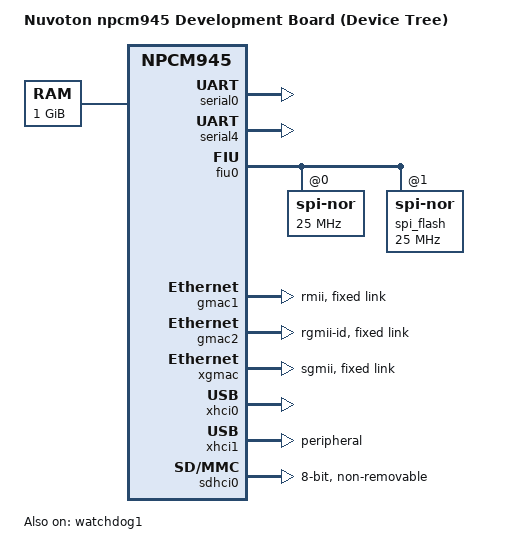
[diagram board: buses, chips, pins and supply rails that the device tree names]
// SPDX-License-Identifier: GPL-2.0
// Copyright (c) 2021 Nuvoton Technology tomer.maimon@nuvoton.com

/dts-v1/;

#include <dt-bindings/phy/nuvoton,npcm-usbphy.h>
#include "nuvoton-npcm945.dtsi"
#include "nuvoton-npcm945-pincfg.dtsi"

/ {
	model = "Nuvoton npcm945 Development Board (Device Tree)";
	compatible = "nuvoton,npcm945-evb", "nuvoton,npcm945";

	aliases {
		serial0 = &serial0;
		serial4 = &serial4;
		ethernet1 = &gmac1;
		ethernet2 = &gmac2;
		ethernet3 = &xgmac;
#if 0 //az
		i2c0 = &i2c0;
		i2c1 = &i2c1;
		i2c2 = &i2c2;
		i2c3 = &i2c3;
		i2c4 = &i2c4;
		i2c5 = &i2c5;
		i2c6 = &i2c6;
		i2c7 = &i2c7;
		i2c8 = &i2c8;
		i2c9 = &i2c9;
		i2c10 = &i2c10;
		i2c11 = &i2c11;
		i2c12 = &i2c12;
		i2c13 = &i2c13;
		i2c14 = &i2c14;
		i2c15 = &i2c15;
		i2c16 = &i2c16;
		i2c17 = &i2c17;
		i2c18 = &i2c18;
		i2c19 = &i2c19;
		i2c20 = &i2c20;
		i2c21 = &i2c21;
		i2c22 = &i2c22;
		i2c23 = &i2c23;
		i2c24 = &i2c24;
		i2c25 = &i2c25;
		i2c26 = &i2c26;
#endif
		spi0 = &fiu0;
#if 0
		spi1 = &fiu1;
		spi3 = &fiu3;
		spi4 = &fiux;
		spi5 = &pspi;
#endif
		usb0 = &xhci0;
		usb1 = &xhci1;
#if 0
		usb1 = &ehci1;
		usb2 = &udc8;
#endif
	};

	chosen {
		stdout-path = &serial4;
	};

	memory {
		reg = <0x0 0x0 0x0 0x40000000>;
	};

#if 0  //az
	tpm@0 {
		compatible = "microsoft,ftpm";
	};

	firmware {
		optee {
			compatible = "linaro,optee-tz";
			method = "smc";
		};
	};

	vsbr2: vsbr2 {
		compatible = "regulator-npcm845";
		regulator-name = "vr2";
		regulator-min-microvolt = <1800000>;
		regulator-max-microvolt = <3300000>;
		regulator-always-on;
	};

	vsbv8: vsbv8 {
		compatible = "regulator-npcm845";
		regulator-name = "v8";
		regulator-min-microvolt = <1800000>;
		regulator-max-microvolt = <3300000>;
		regulator-always-on;
	};

	vsbv5: vsbv5 {
		compatible = "regulator-npcm845";
		regulator-name = "v5";
		regulator-min-microvolt = <1800000>;
		regulator-max-microvolt = <3300000>;
		regulator-always-on;
	};
#endif
};

&serial0 {
	status = "okay";
};

&serial4 {
	status = "okay";
};


&watchdog1 {
	status = "okay";
};

&fiu0 {
	status = "okay";
	pinctrl-names = "default";
#if 0
	pinctrl-0 = <&spi0cs1_pins>;
#endif
	spi-nor@0 {
		compatible = "jedec,spi-nor";
		reg = <0>;
		spi-max-frequency = <25000000>;
	};
	spi_flash@1 {
		compatible = "jedec,spi-nor";
		reg = <1>;
		spi-max-frequency = <25000000>;
	};
};

#if 0  //az

&fiu1 {
	status = "okay";
	spi-nor@0 {
		compatible = "jedec,spi-nor";
		reg = <0>;
		spi-max-frequency = <25000000>;
	};
};

&fiu3 {
	pinctrl-0 = <&spi3_pins>, <&spi3quad_pins>;
	status = "okay";
	vqspi-supply = <&vsbv5>;
	vqspi-microvolt = <3300000>;
	spi-nor@0 {
		compatible = "jedec,spi-nor";
		reg = <0>;
		spi-max-frequency = <25000000>;
	};
};

&fiux {
	nuvoton,spix-mode;
	status = "okay";
};

#endif

&gmac1 {
	phy-mode = "rmii";
	status = "okay";
#if 0
	max-speed = <100>;
	use-ncsi;
	pinctrl-0 = <&r1_pins
		     &r1en_pins
		     &r1oen_pins>;
#endif
	fixed-link {
				speed = <100>;
				//speed = <1000>;
				full-duplex;
		};
};


&gmac2 {
	//phy-mode = "rmii";
	//phy-mode = "xgmii";
	phy-mode = "rgmii-id";
#if 0 // bitbang most likely not needed
	pinctrl-names = "default";
	pinctrl-0 = <&r2_pins
		     &r2oen_pins
		     &r2en_pins
		     &gpio91o_pins
		     &gpio92o_pins>;
	snps,bitbang-mii;
	snps,mdc-gpio = <&gpio2 27 GPIO_ACTIVE_HIGH>;     /* gpio91 */
	snps,mdio-gpio = <&gpio2 28 GPIO_ACTIVE_HIGH>;    /* gpio92 */
	snps,reset-active-low;
	snps,reset-delays-us = <0 10000 500000>;
	snps,reset-gpio = <&gpio2 29 GPIO_ACTIVE_LOW>;    /* gpio93 */
#endif
	status = "okay";
	fixed-link {
				//speed = <100>;
				speed = <1000>;
				full-duplex;
		};
};

&xgmac {
	/*
	 * Select one of the NPCM XPCS modes below. The reference clock must
	 * match the board wiring; USXGMII uses the external 156.25 MHz source.
	 *
	 * phy-mode = "sgmii";
	 * nuvoton,ref-clock-frequency = <125000000>;
	 * // Add nuvoton,ref-clock-from-pad for an external 125 MHz source.
	 * fixed-link {
	 *     speed = <1000>;
	 *     full-duplex;
	 * };
	 *
	 * phy-mode = "usxgmii";
	 * nuvoton,ref-clock-frequency = <156250000>;
	 * nuvoton,ref-clock-from-pad;
	 * // Add nuvoton,phy-side for PHY-side USXGMII configuration.
	 * fixed-link {
	 *     speed = <10000>;
	 *     full-duplex;
	 * };
	 */
	//phy-mode = "rmii";
	phy-mode = "sgmii";
	//phy-mode = "rgmii-id";
#if 0 // bitbang most likely not needed
	pinctrl-names = "default";
	pinctrl-0 = <&r2_pins
		     &r2oen_pins
		     &r2en_pins
		     &gpio91o_pins
		     &gpio92o_pins>;
	snps,bitbang-mii;
	snps,mdc-gpio = <&gpio2 27 GPIO_ACTIVE_HIGH>;     /* gpio91 */
	snps,mdio-gpio = <&gpio2 28 GPIO_ACTIVE_HIGH>;    /* gpio92 */
	snps,reset-active-low;
	snps,reset-delays-us = <0 10000 500000>;
	snps,reset-gpio = <&gpio2 29 GPIO_ACTIVE_LOW>;    /* gpio93 */
#endif
	status = "okay";
	nuvoton,ref-clock-frequency = <125000000>;
	fixed-link {
				speed = <1000>;
				full-duplex;
		};
};
#if 0 //az

&pspi {
	status = "okay";
};

&usbphy1 {
	status = "okay";
};

&usbphy2 {
	status = "okay";
};

&usbphy3 {
	status = "okay";
};
#endif

&xhci0 {
	status = "okay";
#if 0
	phys = <&usbphy1 NPCM_UDC0_7>;
#endif
};

&xhci1 {
	status = "okay";
	dr_mode = "peripheral";

#if 0
	phys = <&usbphy1 NPCM_UDC0_7>;
#endif
};


&sdhci0 {
	bus-width = <8>;
	non-removable;
	status = "okay";
};

#if 0//az
&ehci1 {
	status = "okay";
	phys = <&usbphy2 NPCM_USBH1>;
};

&udc8 {
	status = "okay";
	phys = <&usbphy3 NPCM_UDC8>;
};

&rng {
	status = "okay";
};

&aes {
	status = "okay";
};

&sha {
	status = "okay";
};

&otp {
	status = "okay";
};

&i2c0 {
	status = "okay";
};

&i2c1 {
	status = "okay";
};

&i2c2 {
	status = "okay";
};

&i2c3 {
	status = "okay";
};

&i2c4 {
	status = "okay";
};

&i2c5 {
	status = "okay";
};

&i2c6 {
	status = "okay";
	tmp100@48 {
		compatible = "tmp100";
		reg = <0x48>;
		status = "okay";
	};
};

&i2c7 {
	status = "okay";
};

&i2c8 {
	status = "okay";
};

&i2c9 {
	status = "okay";
};

&i2c10 {
	status = "okay";
};

&i2c11 {
	status = "okay";
};

&i2c12 {
	status = "okay";
};

&i2c13 {
	status = "okay";
};

&i2c14 {
	status = "okay";
};

&i2c15 {
	status = "okay";
};

&i2c16 {
	status = "okay";
};

&i2c17 {
	status = "okay";
};

&i2c18 {
	status = "okay";
};

&i2c19 {
	status = "okay";
};

&i2c20 {
	status = "okay";
};

&i2c21 {
	status = "okay";
};

&i2c22 {
	status = "okay";
};

&i2c23 {
	status = "okay";
};

&i2c24 {
	status = "okay";
};

&i2c25 {
	status = "okay";
};

&i2c26 {
	status = "okay";
};

&pinctrl {
        pinctrl-names = "default";
        pinctrl-0 = <
		&gspi_pins
		&vgadig_pins
		&spix_pins
		&r1_pins
		&r1en_pins
		&r1oen_pins
	>;
};

#endif
